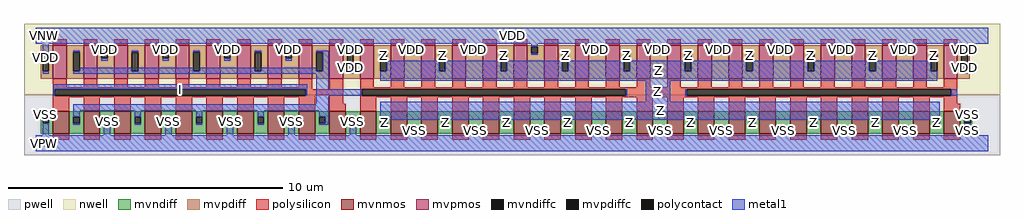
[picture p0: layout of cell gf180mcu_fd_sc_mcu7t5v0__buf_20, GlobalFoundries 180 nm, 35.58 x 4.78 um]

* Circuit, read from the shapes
.subckt gf180mcu_fd_sc_mcu7t5v0__buf_20 I Z VDD VNW VPW VSS
XM1 n1 I VSS VPW nfet_06v0 w=0.82u l=0.6u m=10
XM2 Z n1 VSS VPW nfet_06v0 w=0.82u l=0.6u m=20
XM3 n1 I VDD VNW pfet_06v0 w=1.22u l=0.5u m=10
XM4 Z n1 VDD VNW pfet_06v0 w=1.22u l=0.5u m=20
.ends

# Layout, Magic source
magic
tech gf180mcuD
magscale 1 10
<< nwell >>
rect -86 352 7030 870
<< pwell >>
rect -86 -86 7030 352
<< mvnmos >>
rect 124 68 244 232
rect 348 68 468 232
rect 572 68 692 232
rect 796 68 916 232
rect 1020 68 1140 232
rect 1244 68 1364 232
rect 1468 68 1588 232
rect 1692 68 1812 232
rect 1916 68 2036 232
rect 2140 68 2260 232
rect 2364 68 2484 232
rect 2588 68 2708 232
rect 2812 68 2932 232
rect 3036 68 3156 232
rect 3260 68 3380 232
rect 3484 68 3604 232
rect 3708 68 3828 232
rect 3932 68 4052 232
rect 4156 68 4276 232
rect 4380 68 4500 232
rect 4604 68 4724 232
rect 4828 68 4948 232
rect 5052 68 5172 232
rect 5276 68 5396 232
rect 5500 68 5620 232
rect 5724 68 5844 232
rect 5948 68 6068 232
rect 6172 68 6292 232
rect 6396 68 6516 232
rect 6620 68 6740 232
<< mvpmos >>
rect 124 472 224 716
rect 348 472 448 716
rect 572 472 672 716
rect 796 472 896 716
rect 1020 472 1120 716
rect 1244 472 1344 716
rect 1468 472 1568 716
rect 1692 472 1792 716
rect 1916 472 2016 716
rect 2140 472 2240 716
rect 2364 472 2464 716
rect 2588 472 2688 716
rect 2812 472 2912 716
rect 3036 472 3136 716
rect 3260 472 3360 716
rect 3484 472 3584 716
rect 3708 472 3808 716
rect 3932 472 4032 716
rect 4156 472 4256 716
rect 4380 472 4480 716
rect 4604 472 4704 716
rect 4828 472 4928 716
rect 5052 472 5152 716
rect 5276 472 5376 716
rect 5500 472 5600 716
rect 5724 472 5824 716
rect 5948 472 6048 716
rect 6172 472 6272 716
rect 6396 472 6496 716
rect 6620 472 6720 716
<< mvndiff >>
rect 36 192 124 232
rect 36 146 49 192
rect 95 146 124 192
rect 36 68 124 146
rect 244 192 348 232
rect 244 146 273 192
rect 319 146 348 192
rect 244 68 348 146
rect 468 181 572 232
rect 468 135 497 181
rect 543 135 572 181
rect 468 68 572 135
rect 692 192 796 232
rect 692 146 721 192
rect 767 146 796 192
rect 692 68 796 146
rect 916 181 1020 232
rect 916 135 945 181
rect 991 135 1020 181
rect 916 68 1020 135
rect 1140 192 1244 232
rect 1140 146 1169 192
rect 1215 146 1244 192
rect 1140 68 1244 146
rect 1364 181 1468 232
rect 1364 135 1393 181
rect 1439 135 1468 181
rect 1364 68 1468 135
rect 1588 192 1692 232
rect 1588 146 1617 192
rect 1663 146 1692 192
rect 1588 68 1692 146
rect 1812 181 1916 232
rect 1812 135 1841 181
rect 1887 135 1916 181
rect 1812 68 1916 135
rect 2036 192 2140 232
rect 2036 146 2065 192
rect 2111 146 2140 192
rect 2036 68 2140 146
rect 2260 181 2364 232
rect 2260 135 2289 181
rect 2335 135 2364 181
rect 2260 68 2364 135
rect 2484 192 2588 232
rect 2484 146 2513 192
rect 2559 146 2588 192
rect 2484 68 2588 146
rect 2708 127 2812 232
rect 2708 81 2737 127
rect 2783 81 2812 127
rect 2708 68 2812 81
rect 2932 192 3036 232
rect 2932 146 2961 192
rect 3007 146 3036 192
rect 2932 68 3036 146
rect 3156 127 3260 232
rect 3156 81 3185 127
rect 3231 81 3260 127
rect 3156 68 3260 81
rect 3380 192 3484 232
rect 3380 146 3409 192
rect 3455 146 3484 192
rect 3380 68 3484 146
rect 3604 127 3708 232
rect 3604 81 3633 127
rect 3679 81 3708 127
rect 3604 68 3708 81
rect 3828 192 3932 232
rect 3828 146 3857 192
rect 3903 146 3932 192
rect 3828 68 3932 146
rect 4052 127 4156 232
rect 4052 81 4081 127
rect 4127 81 4156 127
rect 4052 68 4156 81
rect 4276 192 4380 232
rect 4276 146 4305 192
rect 4351 146 4380 192
rect 4276 68 4380 146
rect 4500 127 4604 232
rect 4500 81 4529 127
rect 4575 81 4604 127
rect 4500 68 4604 81
rect 4724 192 4828 232
rect 4724 146 4753 192
rect 4799 146 4828 192
rect 4724 68 4828 146
rect 4948 127 5052 232
rect 4948 81 4977 127
rect 5023 81 5052 127
rect 4948 68 5052 81
rect 5172 192 5276 232
rect 5172 146 5201 192
rect 5247 146 5276 192
rect 5172 68 5276 146
rect 5396 127 5500 232
rect 5396 81 5425 127
rect 5471 81 5500 127
rect 5396 68 5500 81
rect 5620 192 5724 232
rect 5620 146 5649 192
rect 5695 146 5724 192
rect 5620 68 5724 146
rect 5844 127 5948 232
rect 5844 81 5873 127
rect 5919 81 5948 127
rect 5844 68 5948 81
rect 6068 192 6172 232
rect 6068 146 6097 192
rect 6143 146 6172 192
rect 6068 68 6172 146
rect 6292 127 6396 232
rect 6292 81 6321 127
rect 6367 81 6396 127
rect 6292 68 6396 81
rect 6516 192 6620 232
rect 6516 146 6545 192
rect 6591 146 6620 192
rect 6516 68 6620 146
rect 6740 192 6828 232
rect 6740 146 6769 192
rect 6815 146 6828 192
rect 6740 68 6828 146
<< mvpdiff >>
rect 36 665 124 716
rect 36 525 49 665
rect 95 525 124 665
rect 36 472 124 525
rect 224 665 348 716
rect 224 525 273 665
rect 319 525 348 665
rect 224 472 348 525
rect 448 665 572 716
rect 448 619 477 665
rect 523 619 572 665
rect 448 472 572 619
rect 672 665 796 716
rect 672 525 701 665
rect 747 525 796 665
rect 672 472 796 525
rect 896 665 1020 716
rect 896 619 925 665
rect 971 619 1020 665
rect 896 472 1020 619
rect 1120 665 1244 716
rect 1120 525 1149 665
rect 1195 525 1244 665
rect 1120 472 1244 525
rect 1344 665 1468 716
rect 1344 619 1373 665
rect 1419 619 1468 665
rect 1344 472 1468 619
rect 1568 665 1692 716
rect 1568 525 1597 665
rect 1643 525 1692 665
rect 1568 472 1692 525
rect 1792 665 1916 716
rect 1792 619 1821 665
rect 1867 619 1916 665
rect 1792 472 1916 619
rect 2016 665 2140 716
rect 2016 525 2045 665
rect 2091 525 2140 665
rect 2016 472 2140 525
rect 2240 665 2364 716
rect 2240 525 2269 665
rect 2315 525 2364 665
rect 2240 472 2364 525
rect 2464 665 2588 716
rect 2464 525 2513 665
rect 2559 525 2588 665
rect 2464 472 2588 525
rect 2688 703 2812 716
rect 2688 657 2717 703
rect 2763 657 2812 703
rect 2688 472 2812 657
rect 2912 665 3036 716
rect 2912 525 2941 665
rect 2987 525 3036 665
rect 2912 472 3036 525
rect 3136 703 3260 716
rect 3136 657 3165 703
rect 3211 657 3260 703
rect 3136 472 3260 657
rect 3360 665 3484 716
rect 3360 525 3389 665
rect 3435 525 3484 665
rect 3360 472 3484 525
rect 3584 703 3708 716
rect 3584 657 3613 703
rect 3659 657 3708 703
rect 3584 472 3708 657
rect 3808 665 3932 716
rect 3808 525 3837 665
rect 3883 525 3932 665
rect 3808 472 3932 525
rect 4032 703 4156 716
rect 4032 657 4061 703
rect 4107 657 4156 703
rect 4032 472 4156 657
rect 4256 665 4380 716
rect 4256 525 4285 665
rect 4331 525 4380 665
rect 4256 472 4380 525
rect 4480 703 4604 716
rect 4480 657 4509 703
rect 4555 657 4604 703
rect 4480 472 4604 657
rect 4704 665 4828 716
rect 4704 525 4733 665
rect 4779 525 4828 665
rect 4704 472 4828 525
rect 4928 703 5052 716
rect 4928 657 4957 703
rect 5003 657 5052 703
rect 4928 472 5052 657
rect 5152 665 5276 716
rect 5152 525 5181 665
rect 5227 525 5276 665
rect 5152 472 5276 525
rect 5376 703 5500 716
rect 5376 657 5405 703
rect 5451 657 5500 703
rect 5376 472 5500 657
rect 5600 665 5724 716
rect 5600 525 5629 665
rect 5675 525 5724 665
rect 5600 472 5724 525
rect 5824 703 5948 716
rect 5824 657 5853 703
rect 5899 657 5948 703
rect 5824 472 5948 657
rect 6048 665 6172 716
rect 6048 525 6077 665
rect 6123 525 6172 665
rect 6048 472 6172 525
rect 6272 703 6396 716
rect 6272 657 6301 703
rect 6347 657 6396 703
rect 6272 472 6396 657
rect 6496 665 6620 716
rect 6496 525 6525 665
rect 6571 525 6620 665
rect 6496 472 6620 525
rect 6720 665 6808 716
rect 6720 525 6749 665
rect 6795 525 6808 665
rect 6720 472 6808 525
<< mvndiffc >>
rect 49 146 95 192
rect 273 146 319 192
rect 497 135 543 181
rect 721 146 767 192
rect 945 135 991 181
rect 1169 146 1215 192
rect 1393 135 1439 181
rect 1617 146 1663 192
rect 1841 135 1887 181
rect 2065 146 2111 192
rect 2289 135 2335 181
rect 2513 146 2559 192
rect 2737 81 2783 127
rect 2961 146 3007 192
rect 3185 81 3231 127
rect 3409 146 3455 192
rect 3633 81 3679 127
rect 3857 146 3903 192
rect 4081 81 4127 127
rect 4305 146 4351 192
rect 4529 81 4575 127
rect 4753 146 4799 192
rect 4977 81 5023 127
rect 5201 146 5247 192
rect 5425 81 5471 127
rect 5649 146 5695 192
rect 5873 81 5919 127
rect 6097 146 6143 192
rect 6321 81 6367 127
rect 6545 146 6591 192
rect 6769 146 6815 192
<< mvpdiffc >>
rect 49 525 95 665
rect 273 525 319 665
rect 477 619 523 665
rect 701 525 747 665
rect 925 619 971 665
rect 1149 525 1195 665
rect 1373 619 1419 665
rect 1597 525 1643 665
rect 1821 619 1867 665
rect 2045 525 2091 665
rect 2269 525 2315 665
rect 2513 525 2559 665
rect 2717 657 2763 703
rect 2941 525 2987 665
rect 3165 657 3211 703
rect 3389 525 3435 665
rect 3613 657 3659 703
rect 3837 525 3883 665
rect 4061 657 4107 703
rect 4285 525 4331 665
rect 4509 657 4555 703
rect 4733 525 4779 665
rect 4957 657 5003 703
rect 5181 525 5227 665
rect 5405 657 5451 703
rect 5629 525 5675 665
rect 5853 657 5899 703
rect 6077 525 6123 665
rect 6301 657 6347 703
rect 6525 525 6571 665
rect 6749 525 6795 665
<< polysilicon >>
rect 124 716 224 760
rect 348 716 448 760
rect 572 716 672 760
rect 796 716 896 760
rect 1020 716 1120 760
rect 1244 716 1344 760
rect 1468 716 1568 760
rect 1692 716 1792 760
rect 1916 716 2016 760
rect 2140 716 2240 760
rect 2364 716 2464 760
rect 2588 716 2688 760
rect 2812 716 2912 760
rect 3036 716 3136 760
rect 3260 716 3360 760
rect 3484 716 3584 760
rect 3708 716 3808 760
rect 3932 716 4032 760
rect 4156 716 4256 760
rect 4380 716 4480 760
rect 4604 716 4704 760
rect 4828 716 4928 760
rect 5052 716 5152 760
rect 5276 716 5376 760
rect 5500 716 5600 760
rect 5724 716 5824 760
rect 5948 716 6048 760
rect 6172 716 6272 760
rect 6396 716 6496 760
rect 6620 716 6720 760
rect 124 407 224 472
rect 348 407 448 472
rect 572 407 672 472
rect 796 407 896 472
rect 1020 407 1120 472
rect 1244 407 1344 472
rect 1468 407 1568 472
rect 1692 407 1792 472
rect 1916 407 2016 472
rect 124 394 2016 407
rect 2140 394 2240 472
rect 124 348 137 394
rect 1969 350 2240 394
rect 1969 348 2036 350
rect 124 335 2036 348
rect 124 232 244 335
rect 348 232 468 335
rect 572 232 692 335
rect 796 232 916 335
rect 1020 232 1140 335
rect 1244 232 1364 335
rect 1468 232 1588 335
rect 1692 232 1812 335
rect 1916 232 2036 335
rect 2140 288 2240 350
rect 2364 407 2464 472
rect 2588 407 2688 472
rect 2812 407 2912 472
rect 3036 407 3136 472
rect 3260 407 3360 472
rect 3484 407 3584 472
rect 3708 407 3808 472
rect 3932 407 4032 472
rect 4156 407 4256 472
rect 4380 407 4480 472
rect 4604 407 4704 472
rect 4828 407 4928 472
rect 5052 407 5152 472
rect 5276 407 5376 472
rect 5500 407 5600 472
rect 5724 407 5824 472
rect 5948 407 6048 472
rect 6172 407 6272 472
rect 6396 407 6496 472
rect 6620 407 6720 472
rect 2364 394 6720 407
rect 2364 348 2377 394
rect 4303 348 4747 394
rect 6673 348 6720 394
rect 2364 335 6720 348
rect 2140 232 2260 288
rect 2364 232 2484 335
rect 2588 232 2708 335
rect 2812 232 2932 335
rect 3036 232 3156 335
rect 3260 232 3380 335
rect 3484 232 3604 335
rect 3708 232 3828 335
rect 3932 232 4052 335
rect 4156 232 4276 335
rect 4380 232 4500 335
rect 4604 232 4724 335
rect 4828 232 4948 335
rect 5052 232 5172 335
rect 5276 232 5396 335
rect 5500 232 5620 335
rect 5724 232 5844 335
rect 5948 232 6068 335
rect 6172 232 6292 335
rect 6396 232 6516 335
rect 6620 288 6720 335
rect 6620 232 6740 288
rect 124 24 244 68
rect 348 24 468 68
rect 572 24 692 68
rect 796 24 916 68
rect 1020 24 1140 68
rect 1244 24 1364 68
rect 1468 24 1588 68
rect 1692 24 1812 68
rect 1916 24 2036 68
rect 2140 24 2260 68
rect 2364 24 2484 68
rect 2588 24 2708 68
rect 2812 24 2932 68
rect 3036 24 3156 68
rect 3260 24 3380 68
rect 3484 24 3604 68
rect 3708 24 3828 68
rect 3932 24 4052 68
rect 4156 24 4276 68
rect 4380 24 4500 68
rect 4604 24 4724 68
rect 4828 24 4948 68
rect 5052 24 5172 68
rect 5276 24 5396 68
rect 5500 24 5620 68
rect 5724 24 5844 68
rect 5948 24 6068 68
rect 6172 24 6292 68
rect 6396 24 6516 68
rect 6620 24 6740 68
<< polycontact >>
rect 137 348 1969 394
rect 2377 348 4303 394
rect 4747 348 6673 394
<< metal1 >>
rect 0 724 6944 844
rect 49 665 95 724
rect 49 506 95 525
rect 273 665 319 676
rect 477 665 523 724
rect 477 600 523 619
rect 701 665 747 676
rect 319 525 701 552
rect 925 665 971 724
rect 925 600 971 619
rect 1149 665 1195 676
rect 747 525 1149 552
rect 1373 665 1419 724
rect 1373 600 1419 619
rect 1597 665 1643 676
rect 1195 525 1597 552
rect 1821 665 1867 724
rect 1821 600 1867 619
rect 2045 665 2136 676
rect 1643 525 2045 552
rect 2091 525 2136 665
rect 273 506 2136 525
rect 2269 665 2315 724
rect 2717 703 2763 724
rect 2269 506 2315 525
rect 2513 665 2559 676
rect 3165 703 3211 724
rect 2717 646 2763 657
rect 2941 665 2987 676
rect 2559 525 2941 600
rect 3613 703 3659 724
rect 3165 646 3211 657
rect 3389 665 3435 676
rect 2987 525 3389 600
rect 4061 703 4107 724
rect 3613 646 3659 657
rect 3837 665 3883 676
rect 3435 525 3837 600
rect 4509 703 4555 724
rect 4061 646 4107 657
rect 4285 665 4331 676
rect 3883 525 4285 600
rect 4957 703 5003 724
rect 4509 646 4555 657
rect 4733 665 4779 676
rect 4331 525 4733 600
rect 5405 703 5451 724
rect 4957 646 5003 657
rect 5181 665 5227 676
rect 4779 525 5181 600
rect 5853 703 5899 724
rect 5405 646 5451 657
rect 5629 665 5675 676
rect 5227 525 5629 600
rect 6301 703 6347 724
rect 5853 646 5899 657
rect 6077 665 6123 676
rect 5675 525 6077 600
rect 6301 646 6347 657
rect 6525 665 6571 676
rect 6123 525 6525 600
rect 126 394 1980 430
rect 126 348 137 394
rect 1969 348 1980 394
rect 2045 394 2136 506
rect 2513 454 6571 525
rect 6749 665 6795 724
rect 6749 506 6795 525
rect 2045 348 2377 394
rect 4303 348 4314 394
rect 2045 284 2136 348
rect 4446 302 4626 454
rect 4736 348 4747 394
rect 6673 348 6720 394
rect 273 238 2136 284
rect 49 192 95 232
rect 49 60 95 146
rect 273 192 319 238
rect 721 192 767 238
rect 1169 192 1215 238
rect 1617 192 1663 238
rect 2065 192 2136 238
rect 2513 192 6591 302
rect 273 135 319 146
rect 497 181 543 192
rect 721 135 767 146
rect 945 181 991 192
rect 1169 135 1215 146
rect 1393 181 1439 192
rect 1617 135 1663 146
rect 1841 181 1887 192
rect 2111 146 2136 192
rect 2065 135 2136 146
rect 2289 181 2335 192
rect 2559 173 2961 192
rect 2559 146 2565 173
rect 2513 135 2565 146
rect 3007 173 3409 192
rect 2961 135 3007 146
rect 3455 173 3857 192
rect 3409 135 3455 146
rect 3903 173 4305 192
rect 3857 135 3903 146
rect 4351 173 4753 192
rect 4305 135 4351 146
rect 4799 173 5201 192
rect 4753 135 4799 146
rect 5247 173 5649 192
rect 5201 135 5247 146
rect 5695 173 6097 192
rect 5649 135 5695 146
rect 6143 173 6545 192
rect 6097 135 6143 146
rect 6545 135 6591 146
rect 6769 192 6815 232
rect 497 60 543 135
rect 945 60 991 135
rect 1393 60 1439 135
rect 1841 60 1887 135
rect 2289 60 2335 135
rect 2726 81 2737 127
rect 2783 81 2794 127
rect 2726 60 2794 81
rect 3174 81 3185 127
rect 3231 81 3242 127
rect 3174 60 3242 81
rect 3622 81 3633 127
rect 3679 81 3690 127
rect 3622 60 3690 81
rect 4070 81 4081 127
rect 4127 81 4138 127
rect 4070 60 4138 81
rect 4518 81 4529 127
rect 4575 81 4586 127
rect 4518 60 4586 81
rect 4966 81 4977 127
rect 5023 81 5034 127
rect 4966 60 5034 81
rect 5414 81 5425 127
rect 5471 81 5482 127
rect 5414 60 5482 81
rect 5862 81 5873 127
rect 5919 81 5930 127
rect 5862 60 5930 81
rect 6310 81 6321 127
rect 6367 81 6378 127
rect 6310 60 6378 81
rect 6769 60 6815 146
rect 0 -60 6944 60
<< labels >>
flabel metal1 s 0 724 6944 844 0 FreeSans 600 0 0 0 VDD
port 3 nsew power bidirectional abutment
flabel metal1 s 6769 192 6815 232 0 FreeSans 600 0 0 0 VSS
port 6 nsew ground bidirectional abutment
flabel metal1 s 6525 600 6571 676 0 FreeSans 600 0 0 0 Z
port 2 nsew default output
flabel metal1 s 126 348 1980 430 0 FreeSans 600 0 0 0 I
port 1 nsew default input
flabel nwell s 10 734 110 834 0 FreeSans 400 0 0 0 VNW
port 4 nsew power bidirectional
flabel pwell s 10 -50 110 50 0 FreeSans 400 0 0 0 VPW
port 5 nsew ground bidirectional
rlabel metal1 s 6077 600 6123 676 1 Z
port 2 nsew default output
rlabel metal1 s 5629 600 5675 676 1 Z
port 2 nsew default output
rlabel metal1 s 5181 600 5227 676 1 Z
port 2 nsew default output
rlabel metal1 s 4733 600 4779 676 1 Z
port 2 nsew default output
rlabel metal1 s 4285 600 4331 676 1 Z
port 2 nsew default output
rlabel metal1 s 3837 600 3883 676 1 Z
port 2 nsew default output
rlabel metal1 s 3389 600 3435 676 1 Z
port 2 nsew default output
rlabel metal1 s 2941 600 2987 676 1 Z
port 2 nsew default output
rlabel metal1 s 2513 600 2559 676 1 Z
port 2 nsew default output
rlabel metal1 s 2513 454 6571 600 1 Z
port 2 nsew default output
rlabel metal1 s 4446 302 4626 454 1 Z
port 2 nsew default output
rlabel metal1 s 2513 173 6591 302 1 Z
port 2 nsew default output
rlabel metal1 s 6545 135 6591 173 1 Z
port 2 nsew default output
rlabel metal1 s 6097 135 6143 173 1 Z
port 2 nsew default output
rlabel metal1 s 5649 135 5695 173 1 Z
port 2 nsew default output
rlabel metal1 s 5201 135 5247 173 1 Z
port 2 nsew default output
rlabel metal1 s 4753 135 4799 173 1 Z
port 2 nsew default output
rlabel metal1 s 4305 135 4351 173 1 Z
port 2 nsew default output
rlabel metal1 s 3857 135 3903 173 1 Z
port 2 nsew default output
rlabel metal1 s 3409 135 3455 173 1 Z
port 2 nsew default output
rlabel metal1 s 2961 135 3007 173 1 Z
port 2 nsew default output
rlabel metal1 s 2513 135 2565 173 1 Z
port 2 nsew default output
rlabel metal1 s 6749 646 6795 724 1 VDD
port 3 nsew power bidirectional abutment
rlabel metal1 s 6301 646 6347 724 1 VDD
port 3 nsew power bidirectional abutment
rlabel metal1 s 5853 646 5899 724 1 VDD
port 3 nsew power bidirectional abutment
rlabel metal1 s 5405 646 5451 724 1 VDD
port 3 nsew power bidirectional abutment
rlabel metal1 s 4957 646 5003 724 1 VDD
port 3 nsew power bidirectional abutment
rlabel metal1 s 4509 646 4555 724 1 VDD
port 3 nsew power bidirectional abutment
rlabel metal1 s 4061 646 4107 724 1 VDD
port 3 nsew power bidirectional abutment
rlabel metal1 s 3613 646 3659 724 1 VDD
port 3 nsew power bidirectional abutment
rlabel metal1 s 3165 646 3211 724 1 VDD
port 3 nsew power bidirectional abutment
rlabel metal1 s 2717 646 2763 724 1 VDD
port 3 nsew power bidirectional abutment
rlabel metal1 s 2269 646 2315 724 1 VDD
port 3 nsew power bidirectional abutment
rlabel metal1 s 1821 646 1867 724 1 VDD
port 3 nsew power bidirectional abutment
rlabel metal1 s 1373 646 1419 724 1 VDD
port 3 nsew power bidirectional abutment
rlabel metal1 s 925 646 971 724 1 VDD
port 3 nsew power bidirectional abutment
rlabel metal1 s 477 646 523 724 1 VDD
port 3 nsew power bidirectional abutment
rlabel metal1 s 49 646 95 724 1 VDD
port 3 nsew power bidirectional abutment
rlabel metal1 s 6749 600 6795 646 1 VDD
port 3 nsew power bidirectional abutment
rlabel metal1 s 2269 600 2315 646 1 VDD
port 3 nsew power bidirectional abutment
rlabel metal1 s 1821 600 1867 646 1 VDD
port 3 nsew power bidirectional abutment
rlabel metal1 s 1373 600 1419 646 1 VDD
port 3 nsew power bidirectional abutment
rlabel metal1 s 925 600 971 646 1 VDD
port 3 nsew power bidirectional abutment
rlabel metal1 s 477 600 523 646 1 VDD
port 3 nsew power bidirectional abutment
rlabel metal1 s 49 600 95 646 1 VDD
port 3 nsew power bidirectional abutment
rlabel metal1 s 6749 506 6795 600 1 VDD
port 3 nsew power bidirectional abutment
rlabel metal1 s 2269 506 2315 600 1 VDD
port 3 nsew power bidirectional abutment
rlabel metal1 s 49 506 95 600 1 VDD
port 3 nsew power bidirectional abutment
rlabel metal1 s 49 192 95 232 1 VSS
port 6 nsew ground bidirectional abutment
rlabel metal1 s 6769 127 6815 192 1 VSS
port 6 nsew ground bidirectional abutment
rlabel metal1 s 2289 127 2335 192 1 VSS
port 6 nsew ground bidirectional abutment
rlabel metal1 s 1841 127 1887 192 1 VSS
port 6 nsew ground bidirectional abutment
rlabel metal1 s 1393 127 1439 192 1 VSS
port 6 nsew ground bidirectional abutment
rlabel metal1 s 945 127 991 192 1 VSS
port 6 nsew ground bidirectional abutment
rlabel metal1 s 497 127 543 192 1 VSS
port 6 nsew ground bidirectional abutment
rlabel metal1 s 49 127 95 192 1 VSS
port 6 nsew ground bidirectional abutment
rlabel metal1 s 6769 60 6815 127 1 VSS
port 6 nsew ground bidirectional abutment
rlabel metal1 s 6310 60 6378 127 1 VSS
port 6 nsew ground bidirectional abutment
rlabel metal1 s 5862 60 5930 127 1 VSS
port 6 nsew ground bidirectional abutment
rlabel metal1 s 5414 60 5482 127 1 VSS
port 6 nsew ground bidirectional abutment
rlabel metal1 s 4966 60 5034 127 1 VSS
port 6 nsew ground bidirectional abutment
rlabel metal1 s 4518 60 4586 127 1 VSS
port 6 nsew ground bidirectional abutment
rlabel metal1 s 4070 60 4138 127 1 VSS
port 6 nsew ground bidirectional abutment
rlabel metal1 s 3622 60 3690 127 1 VSS
port 6 nsew ground bidirectional abutment
rlabel metal1 s 3174 60 3242 127 1 VSS
port 6 nsew ground bidirectional abutment
rlabel metal1 s 2726 60 2794 127 1 VSS
port 6 nsew ground bidirectional abutment
rlabel metal1 s 2289 60 2335 127 1 VSS
port 6 nsew ground bidirectional abutment
rlabel metal1 s 1841 60 1887 127 1 VSS
port 6 nsew ground bidirectional abutment
rlabel metal1 s 1393 60 1439 127 1 VSS
port 6 nsew ground bidirectional abutment
rlabel metal1 s 945 60 991 127 1 VSS
port 6 nsew ground bidirectional abutment
rlabel metal1 s 497 60 543 127 1 VSS
port 6 nsew ground bidirectional abutment
rlabel metal1 s 49 60 95 127 1 VSS
port 6 nsew ground bidirectional abutment
rlabel metal1 s 0 -60 6944 60 1 VSS
port 6 nsew ground bidirectional abutment
<< properties >>
string FIXED_BBOX 0 0 6944 784
string GDS_END 1387488
string GDS_FILE $PDKPATH/libs.ref/gf180mcu_fd_sc_mcu7t5v0/gds/gf180mcu_fd_sc_mcu7t5v0.gds
string GDS_START 1372796
string LEFclass core
string LEFsite GF018hv5v_mcu_sc7
string LEFsymmetry X Y
<< end >>
